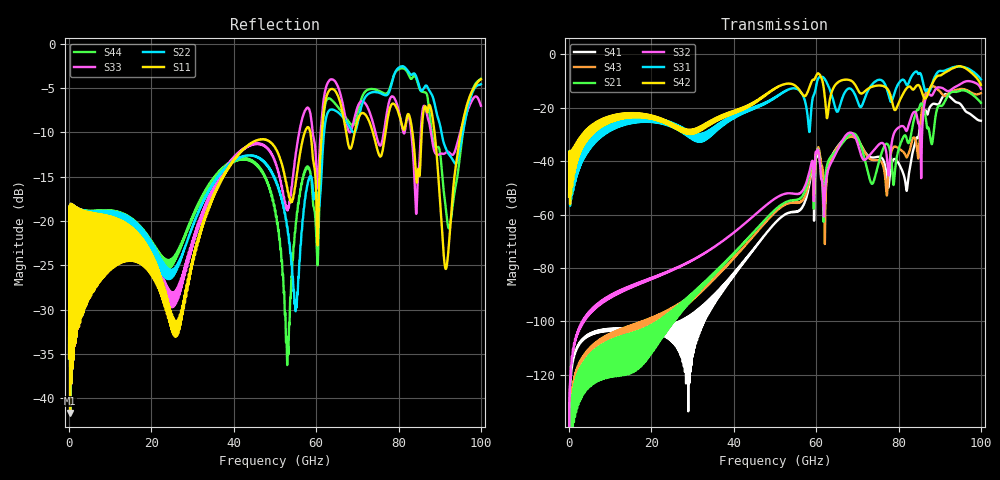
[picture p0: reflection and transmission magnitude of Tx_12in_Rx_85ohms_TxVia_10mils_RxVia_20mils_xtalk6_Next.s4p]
! Info: Touchstone file created by Circ.  Input file=Tx_12in_Rx_85ohms_TxVia_10mils_RxVia_20mils.circ
# Hz S RI R 50
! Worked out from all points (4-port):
!   10000 points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, 10 MHz to 100 GHz, reference 50 ohm
!   strongest paths, dB at 10 MHz, 25.01 GHz, 50.01 GHz, 75.01 GHz, 100 GHz:
!     S42: -53.2, -26.0, -12.8, -11.7, -11.5
!     S31: -53.2, -25.8, -16.2, -9.6, -9.4
!     S32: -144.6, -80.8, -54.0, -34.1, -12.9
!     S21: -160.6, -97.7, -58.2, -41.6, -18.2
!     S43: -146.7, -97.7, -59.1, -39.6, -14.6
!     S41: -144.9, -103.8, -63.2, -38.4, -24.9
!   lowest |S11| = -41.6 dB at 260 MHz (marker M1), VSWR 1.02, Z = 49.2 + j0.216 ohm
!   |S11| at or under -10 dB: start of sweep to 57.21 GHz; 73.75 GHz to 76.85 GHz (3.096 GHz wide, 4.11 % of centre); 88.75 GHz to 95.14 GHz (6.39 GHz wide, 6.95 % of centre)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
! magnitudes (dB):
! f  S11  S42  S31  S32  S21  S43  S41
! 10 MHz  -35.5  -53.2  -53.2  -144.6  -160.6  -146.7  -144.9
! 260 MHz  -41.6  -50.1  -50.2  -122.6  -136.1  -133.4  -123.9
! 37.56 GHz  -15.0  -23.0  -25.3  -69.6  -78.2  -80.0  -86.5
! 60.38 GHz  -22.5  -7.2  -9.4  -35.7  -35.4  -35.1  -35.9
! 77.1 GHz  -9.2  -12.6  -12.6  -37.6  -33.5  -52.5  -45.4
! 87.91 GHz  -7.4  -11.8  -12.3  -15.5  -32.9  -12.5  -19.1
! 100 GHz  -4.0  -11.5  -9.4  -12.9  -18.2  -14.6  -24.9
